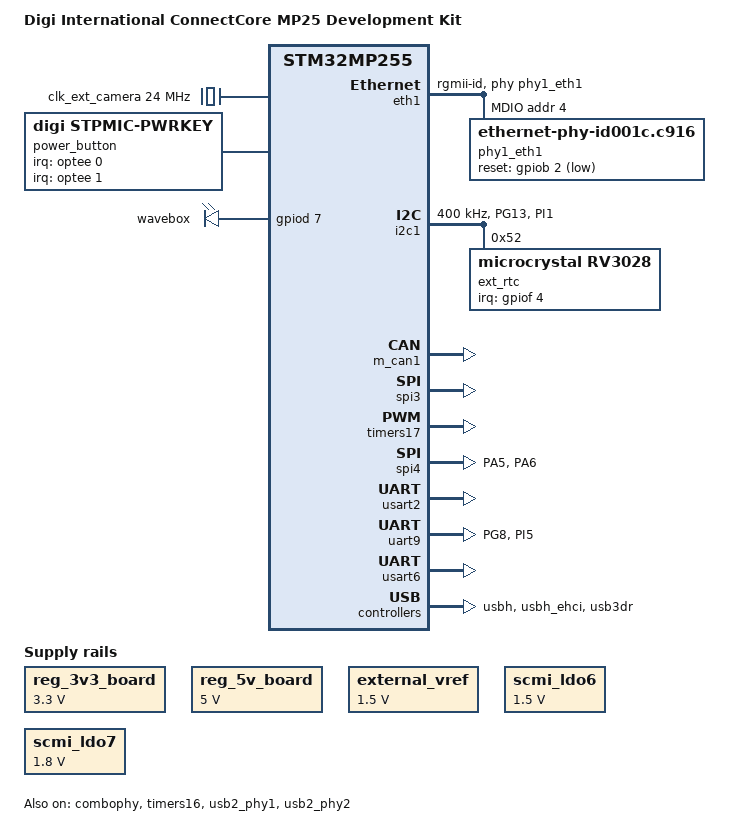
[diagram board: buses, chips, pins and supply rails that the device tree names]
// SPDX-License-Identifier: (GPL-2.0-or-later OR BSD-3-Clause)
/*
 * Copyright (C) 2024,2026, Digi International Inc.
 *
 * Permission to use, copy, modify, and/or distribute this software for any
 * purpose with or without fee is hereby granted, provided that the above
 * copyright notice and this permission notice appear in all copies.
 * THE SOFTWARE IS PROVIDED "AS IS" AND THE AUTHOR DISCLAIMS ALL WARRANTIES
 * WITH REGARD TO THIS SOFTWARE INCLUDING ALL IMPLIED WARRANTIES OF
 * MERCHANTABILITY AND FITNESS. IN NO EVENT SHALL THE AUTHOR BE LIABLE FOR
 * ANY SPECIAL, DIRECT, INDIRECT, OR CONSEQUENTIAL DAMAGES OR ANY DAMAGES
 * WHATSOEVER RESULTING FROM LOSS OF USE, DATA OR PROFITS, WHETHER IN AN
 * ACTION OF CONTRACT, NEGLIGENCE OR OTHER TORTIOUS ACTION, ARISING OUT OF
 * OR IN CONNECTION WITH THE USE OR PERFORMANCE OF THIS SOFTWARE.
 */

/dts-v1/;

/* Digi ConnectCore MP25 (SOM) */
#include "ccmp25.dtsi"

#include <dt-bindings/gpio/gpio.h>
#include <dt-bindings/input/input.h>
#include <dt-bindings/leds/common.h>
#include <dt-bindings/regulator/st,stm32mp25-regulator.h>
#include "dt-bindings/pwm/pwm.h"

/ {
	model = "Digi International ConnectCore MP25 Development Kit";
	compatible = "digi,ccmp25-dvk", "digi,ccmp25", "digi,ccmp2", "st,stm32mp255";
	digi,machine,name = "ccmp255-dvk";

	aliases {
		ethernet0 = &eth1;		
		serial2 = &uart5; /* Console M33 / XBEE */
		serial3 = &usart6; /* 485 */
		serial4 = &uart9;
	};

	chosen {
		stdout-path = "serial0:115200n8";
		#address-cells = <2>;
		#size-cells = <2>;
		ranges;

		framebuffer {
			compatible = "simple-framebuffer";
			clocks = <&rcc CK_BUS_LTDC>, <&rcc CK_KER_LTDC>,
				 <&rcc CK_BUS_LVDS>, <&rcc CK_KER_LVDSPHY>;
			status = "disabled";
		};
	};

	clocks {
		cec_clock: cec-clock {
			compatible = "fixed-clock";
			#clock-cells = <0>;
			clock-frequency = <12000000>;
		};

		clk_ext_camera: clk-ext-camera {
			#clock-cells = <0>;
			compatible = "fixed-clock";
			clock-frequency = <24000000>;
		};

		pad_clk: pad-clk {
			#clock-cells = <0>;
			compatible = "fixed-clock";
			clock-frequency = <100000000>;
		};
	};

	hdmi-connector {
		compatible = "hdmi-connector";
		label = "hdmi";
		type = "a";
		hdmi-pwr-supply = <&reg_5v_board>;
		lv-pwr-supply = <&scmi_ldo7>; /* 1V8_HDMI */
		hpd-gpios = <&gpiod 2 GPIO_ACTIVE_HIGH>;
		status = "disabled";

		port {
			hdmi_connector_in: endpoint {
				remote-endpoint = <&lt8912_out>;
			};
		};
	};

	panel_dsi_gpio_backlight: panel-dsi-gpio-backlight {
		compatible = "gpio-backlight";
		gpios = <&gpiod 9 GPIO_ACTIVE_HIGH>; /* MIPI_BCKL_PWM */
		default-brightness-level = <0>;
		status = "disabled";
	};

	panel_dsi_pwm_backlight: panel-dsi-pwm-backlight {
		compatible = "pwm-backlight";
		/* node TIM1_CH3 period (ns) */
		pwms = <&pwm_mipi_bckl 3 500000 PWM_POLARITY_INVERTED>;
		brightness-levels = <0 16 22 30 40 55 75 102 138 188 255>;
		default-brightness-level = <8>;
		power-supply = <&reg_5v_board>;
		status = "disabled";
	};

	panel_lvds: panel-lvds {
		compatible = "auo,g101evn010", "panel-lvds";
		power-supply = <&reg_5v_board>;
		/*backlight = <&panel_lvds_gpio_backlight>;*/
		backlight = <&panel_lvds_pwm_backlight>;
		status = "disabled";

		width-mm = <216>;
		height-mm = <135>;
		data-mapping = "jeida-24";

		panel-timing {
			clock-frequency = <54000000>;
			hactive = <1280>;
			vactive = <800>;
			hfront-porch = <82>;
			hback-porch = <84>;
			hsync-len = <2>;
			vfront-porch = <8>;
			vback-porch = <6>;
			vsync-len = <2>;
		};

		port {
			lvds_panel_in: endpoint {
				remote-endpoint = <&lvds_out0>;
			};
		};
	};

	panel_lvds_gpio_backlight: panel-lvds-gpio-backlight {
		compatible = "gpio-backlight";
		gpios = <&gpiob 0 GPIO_ACTIVE_HIGH>; /* LVDS_BCKL_PWM */
		default-brightness-level = <1>;
		status = "disabled";
	};

	panel_lvds_pwm_backlight: panel-lvds-pwm-backlight {
		compatible = "pwm-backlight";
		/* node TIM20_CH4 period (ns) */
		pwms = <&pwm_lvds_bckl 3 500000 PWM_POLARITY_INVERTED>;
		brightness-levels = <0 16 22 30 40 55 75 102 138 188 255>;
		default-brightness-level = <8>;
		power-supply = <&reg_5v_board>;
		status = "disabled";
	};

	power_button {
		compatible = "digi,stpmic-pwrkey";
		interrupts-extended = <&optee 0>, <&optee 1>;
		interrupt-names = "stpmic_pwrkey_fall", "stpmic_pwrkey_rise";
		status = "okay";
	};

	regulators {
		compatible = "simple-bus";
		#address-cells = <1>;
		#size-cells = <0>;

		reg_3v3_board: regulator-board@1 {
			compatible = "regulator-fixed";
			reg = <1>;
			regulator-name = "3v3_board";
			regulator-min-microvolt = <3300000>;
			regulator-max-microvolt = <3300000>;
			regulator-always-on;
			status = "okay";
		};

		reg_5v_board: regulator-board@2 {
			compatible = "regulator-fixed";
			reg = <2>;
			regulator-name = "5v_board";
			regulator-min-microvolt = <5000000>;
			regulator-max-microvolt = <5000000>;
			regulator-enable-ramp-delay = <8000>;
			regulator-always-on;
			status = "okay";
		};

		external_vref: regulator-board@4 {
			reg = <4>;
			compatible = "regulator-fixed";
			regulator-name = "external-vref";
			regulator-min-microvolt = <1500000>;
			regulator-max-microvolt = <1500000>;
			status = "okay";
		};

	};

	/* AUDIO */
	sound_max98089: sound-max98089 {
		compatible = "audio-graph-card";
		label = "ccmp25-dvk";
		dais = <&sai4b_port &sai4a_port>;
		status = "disabled";
	};

leds {
    compatible = "gpio-leds";
    wavebox {
        label = "wavebox";
        gpios = <&gpiod 7 GPIO_ACTIVE_HIGH>;   /* NPN 低边: 高=亮 */
        default-state = "off";                 /* 上电灭 */
        /* 可选: linux,default-trigger = "heartbeat"; */
    };
};


};

&adc_12 {
	/* External Vref (requires connecting external voltage to VREF+ pad) */
	vref-supply = <&external_vref>;
	/* Internal Vref (this outputs VREFBUF voltage at VREF+ pad) */
	//vref-supply = <&scmi_vrefbuf>;
	vdda-supply = <&scmi_vdda18adc>;
	pinctrl-names = "default";
	pinctrl-0 = <&ccmp25_adc_pins>;
	status = "disabled";

	adc1: adc@0 {
		status = "disabled";

		channel@0 {
			reg = <0>;
			/* 16.5 ck_cycles sampling time */
			st,min-sample-time-ns = <400>;
		};

		channel@1 {
			reg = <1>;
			/* 16.5 ck_cycles sampling time */
			st,min-sample-time-ns = <400>;
		};

		channel@6 {
			reg = <6>;
			/* 16.5 ck_cycles sampling time */
			st,min-sample-time-ns = <400>;
		};
	};
};

&combophy {
	clocks = <&rcc CK_BUS_USB3PCIEPHY>, <&rcc CK_KER_USB3PCIEPHY>, <&pad_clk>;
	clock-names = "apb-clk", "ker-clk", "pad-clk";
	st,rx_equalizer = <1>;
	status = "okay";
};

&csi {
	vdd-supply =  <&scmi_vddcore>;
	vdda18-supply = <&scmi_v1v8>;
	status = "disabled";
	ports {
		#address-cells = <1>;
		#size-cells = <0>;
		port@0 {
			reg = <0>;
			csi_sink: endpoint {
				remote-endpoint = <&imx335_ep>;
				data-lanes = <1 2>;
				bus-type = <4>;
			};
		};
		port@1 {
			reg = <1>;
			csi_source: endpoint {
				remote-endpoint = <&dcmipp_0>;
			};
		};
	};
};

&dcmipp {
	status = "disabled";
	port {
		dcmipp_0: endpoint {
			remote-endpoint = <&csi_source>;
			bus-type = <4>;
		};
	};
};

&dsi {
	vdd-supply =  <&scmi_vddcore>;
	vdda18-supply = <&scmi_v1v8>;
	status = "disabled";

	ports {
		#address-cells = <1>;
		#size-cells = <0>;

		port@0 {
			reg = <0>;
			dsi_in: endpoint {
				remote-endpoint = <&ltdc_ep0_out>;
			};
		};

		port@1 {
			reg = <1>;
			dsi_out: endpoint {
				remote-endpoint = <&lt8912_1_in>;
			};
		};
	};
};

&eth1 {

	status = "okay";
	pinctrl-0 = <&eth1_rgmii_pins_a &eth1_mdio_pins_a>;
	pinctrl-1 = <&eth1_rgmii_sleep_pins_a &eth1_mdio_sleep_pins_a>;
	pinctrl-names = "default", "sleep";
	phy-mode = "rgmii-id";
	max-speed = <1000>;
	phy-handle = <&phy1_eth1>;
	st,eth-clk-sel;
	snps,ext-systime;

	mdio1 {
		#address-cells = <1>;
		#size-cells = <0>;
		compatible = "snps,dwmac-mdio";
		phy1_eth1: ethernet-phy@4 {
			compatible = "ethernet-phy-id001c.c916";
			reset-gpios =  <&gpiob 2 GPIO_ACTIVE_LOW>;
			reset-assert-us = <10000>;
			reset-deassert-us = <80000>;
			realtek,eee-disable;
			reg = <4>;
		};
	};
};


/* Peripheral I2C bus (J18 Connector) */
&i2c1 {
	pinctrl-names = "default", "sleep";
	pinctrl-0 = <&ccmp25_i2c1_pins>;
	pinctrl-1 = <&ccmp25_i2c1_sleep_pins>;
	i2c-scl-rising-time-ns = <100>;
	i2c-scl-falling-time-ns = <13>;
	clock-frequency = <400000>;
	status = "okay";
	/* spare dmas for other usage */
	/delete-property/dmas;
	/delete-property/dma-names;

	/*
	 * An inconsistent reset sequence makes
	 * the Goodix display's touch controller respond to one of two I2C
	 * addresses: 0x14 and 0x5D. To make sure the touchscreen
	 * works every time, the touch controller's description must
	 * be duplicated for both addresses.
	 */
	goodix_touch: goodix_touch@14 {
		compatible = "goodix,gt9271";
		reg = <0x14>;
		interrupt-parent = <&gpiod>;
		interrupts = <5 IRQ_TYPE_EDGE_RISING>;
		irq-gpios = <&gpiod 5 GPIO_ACTIVE_HIGH>; /* LVDS_IRQ */
		VDDIO-supply = <&reg_3v3_board>;
		status = "disabled";
	};

	goodix_touch2: goodix_touch2@5d {
		compatible = "goodix,gt9271";
		reg = <0x5d>;
		interrupt-parent = <&gpiod>;
		interrupts = <5 IRQ_TYPE_EDGE_RISING>;
		irq-gpios = <&gpiod 5 GPIO_ACTIVE_HIGH>; /* LVDS_IRQ */
		VDDIO-supply = <&reg_3v3_board>;
		status = "disabled";
	};

	/* MIPI-CSI camera */
	imx335: imx335@1a {
		compatible = "sony,imx335";
		reg = <0x1a>;
		clocks = <&clk_ext_camera>;
		reset-gpios = <&gpiog 7 (GPIO_ACTIVE_LOW | GPIO_PUSH_PULL)>;
		powerdown-gpios = <&gpiof 3 (GPIO_ACTIVE_HIGH | GPIO_PUSH_PULL)>;
		status = "disabled";

		port {
			imx335_ep: endpoint {
				remote-endpoint = <&csi_sink>;
				clock-lanes = <0>;
				data-lanes = <1 2>;
				link-frequencies = /bits/ 64 <594000000>;
			};
		};
	};

	ext_rtc: ext_rtc@52 {
		compatible = "microcrystal,rv3028";
		reg = <0x52>;
		interrupt-parent = <&gpiof>;
		interrupts = <4 IRQ_TYPE_EDGE_FALLING>; /* RTC_INT_N */
	};
};

/* Peripheral I2C2 bus (J28 Connector) */
&i2c2 {
	pinctrl-names = "default", "sleep";
	pinctrl-0 = <&i2c2_pins_a>;
	pinctrl-1 = <&i2c2_sleep_pins_a>;
	i2c-scl-rising-time-ns = <100>;
	i2c-scl-falling-time-ns = <13>;
	clock-frequency = <400000>;
	status = "disabled";
	/* spare dmas for other usage */
	/delete-property/dmas;
	/delete-property/dma-names;

	lt_bridge: lt8912@48 {
		compatible = "lontium,lt8912b";
		reg = <0x48>;
		reset-gpios = <&gpiod 4 GPIO_ACTIVE_LOW>;
		vdd-supply = <&scmi_ldo7>; /* 1V8_HDMI */
		status = "disabled";

		ports {
			#address-cells = <1>;
			#size-cells = <0>;

			port@0 {
				reg = <0>;
				lt8912_1_in: endpoint {
					data-lanes = <1 2 3 4>;
					remote-endpoint = <&dsi_out>;
				};
			};

			port@1 {
				reg = <1>;
				lt8912_out: endpoint {
					remote-endpoint = <&hdmi_connector_in>;
				};
			};
		};

		display-timings {
			native-mode = <&timing0>;

			/* High Definition */
			timing0: timing0 {
				clock-frequency = <74250000>;
				hactive = <1280>;
				vactive = <720>;
				hfront-porch = <110>;
				hsync-len = <40>;
				hback-porch = <220>;
				vfront-porch = <5>;
				vsync-len = <5>;
				vback-porch = <20>;
				hsync-active = <0>;
				vsync-active = <0>;
				de-active = <0>;
				pixelclk-active = <0>;
			};

			/* Full HD */
			timing1: timing1 {
				clock-frequency = <148500000>;
				hactive = <1920>;
				vactive = <1080>;
				hfront-porch = <88>;
				hsync-len = <44>;
				hback-porch = <148>;
				vfront-porch = <4>;
				vsync-len = <5>;
				vback-porch = <36>;
				hsync-active = <0>;
				vsync-active = <0>;
				de-active = <0>;
				pixelclk-active = <0>;
			};
		};
	};

	max98089: codec@10 {
		compatible = "maxim,max98089";
		reg = <0x10>;
		clocks = <&sai4b>;
		clock-names = "mclk";
		#sound-dai-cells = <0>;
		#address-cells = <1>;
		#size-cells = <0>;
		status = "disabled";

		max98089_port: port@0{
			reg = <0>;

			max98089_in_endpoint: endpoint@0 {
				remote-endpoint = <&sai4a_endpoint>;
				frame-master = <&max98089_in_endpoint>;
				bitclock-master = <&max98089_in_endpoint>;
			};

			max98089_out_endpoint: endpoint@1 {
				remote-endpoint = <&sai4b_endpoint>;
				frame-master = <&max98089_out_endpoint>;
				bitclock-master = <&max98089_out_endpoint>;
			};
		};
	};
};

&lpuart1 {
	pinctrl-names = "default", "idle", "sleep";
	pinctrl-0 = <&ccmp25_lpuart1_pins>;
	pinctrl-1 = <&ccmp25_lpuart1_idle_pins>;
	pinctrl-2 = <&ccmp25_lpuart1_sleep_pins>;
	/delete-property/dmas;
	/delete-property/dma-names;
	wakeup-source;
	status = "disabled";
};

&ltdc {
	rotation-memory = <&ltdc_sec_rotation>;
	status = "disabled";

	port {
		#address-cells = <1>;
		#size-cells = <0>;

		ltdc_ep0_out: endpoint@0 {
			reg = <0>;
			remote-endpoint = <&dsi_in>;
		};

		ltdc_ep1_out: endpoint@1 {
			reg = <1>;
			remote-endpoint = <&lvds_in>;
		};
	};
};

&lvds {
	vdd-supply =  <&scmi_vddcore>;
	vdda18-supply = <&scmi_v1v8>;
	status = "disabled";

	ports {
		#address-cells = <1>;
		#size-cells = <0>;

		port@0 {
			reg = <0>;
			lvds_in: endpoint {
				remote-endpoint = <&ltdc_ep1_out>;
			};
		};

		port@1 {
			reg = <1>;
			lvds_out0: endpoint {
				remote-endpoint = <&lvds_panel_in>;
			};
		};
	};
};

/* FDCAN1 */
&m_can1 {
	pinctrl-names = "default", "sleep";
	pinctrl-0 = <&m_can1_pins_a>;
	pinctrl-1 = <&m_can1_sleep_pins_a>;
	status = "okay";
};

&ommanager {
	memory-region = <&mm_ospi1>;
	memory-region-names = "mm_ospi1";
	pinctrl-names = "default", "sleep";
	pinctrl-0 = <&ospi_port1_clk_pins_a
		     &ospi_port1_io03_pins_a
		     &ospi_port1_cs0_pins_a>;
	pinctrl-1 = <&ospi_port1_clk_sleep_pins_a
		     &ospi_port1_io03_sleep_pins_a
		     &ospi_port1_cs0_sleep_pins_a>;
	status = "disabled";

	ospi1: spi@40430000 {
		#address-cells = <1>;
		#size-cells = <0>;
		memory-region = <&mm_ospi1>;
		status = "disabled";
	};
};

/* PCIe conflicts with USB 3.0 */


&sai4 {
	pinctrl-names = "default", "sleep";
	pinctrl-0 = <&ccmp25_sai4a_pins>, <&ccmp25_sai4b_pins>;
	pinctrl-1 = <&ccmp25_sai4a_sleep_pins>, <&ccmp25_sai4b_sleep_pins>;
	status = "disabled";

	sai4a: audio-controller@40340004 {
		/* Sub-block A is a slave of sub-block B */
		st,sync = <&sai4b 1>;
		/* Sub-block A is only capture (rx) */
		dmas = <&hpdma 79 0x43 0x12 0>;
		dma-names = "rx";
		clocks = <&rcc CK_KER_SAI4>, <&sai4b>;
		clock-names = "sai_ck", "mclk";
		status = "disabled";

		sai4a_port: port {
			sai4a_endpoint: endpoint {
				remote-endpoint = <&max98089_in_endpoint>;
				format = "i2s";
				mclk-fs = <256>;
				dai-tdm-slot-num = <2>;
				dai-tdm-slot-width = <32>;
			};
		};
	};
	sai4b: audio-controller@40340024 {
		/* Sub-block B is master */
		#clock-cells = <0>;
		/* Sub-block B is only playback (tx) */
		dmas = <&hpdma 80 0x63 0x21 0>;
		dma-names = "tx";
		status = "disabled";

		sai4b_port: port {
			sai4b_endpoint: endpoint {
				remote-endpoint = <&max98089_out_endpoint>;
				format = "i2s";
				mclk-fs = <256>;
				dai-tdm-slot-num = <2>;
				dai-tdm-slot-width = <32>;
			};
		};
	};
};

/* PMIC LDO6 (PCIe 1.5V) */
&scmi_ldo6 {
	regulator-min-microvolt = <1500000>;
	regulator-max-microvolt = <1500000>;
};

/* PMIC LDO7 (HDMI 1.8V) */
&scmi_ldo7 {
	regulator-min-microvolt = <1800000>;
	regulator-max-microvolt = <1800000>;
};

/* Micro SD */
&sdmmc3 {
	pinctrl-names = "default", "opendrain", "sleep";
	pinctrl-0 = <&sdmmc3_b4_pins_a>;
	pinctrl-1 = <&sdmmc3_b4_od_pins_a>;
	pinctrl-2 = <&sdmmc3_b4_sleep_pins_a>;
	cd-gpios = <&gpioi 6 GPIO_ACTIVE_HIGH>;
	disable-wp;
	st,neg-edge;
	no-1-8-v;
	bus-width = <4>;
	vmmc-supply = <&reg_3v3_board>; /* card's VDD pin */
	vqmmc-supply = <&scmi_vddio3>;
	status = "disabled";
};

/* MikroBus SPI */
&spi3 {
	pinctrl-names = "default", "sleep";
	pinctrl-0 = <&spi3_pins_a>;
	pinctrl-1 = <&spi3_sleep_pins_a>;
	cs-gpios = <&gpiob 1 0>; /* SPI3_SS */
	status = "okay";

	//spidev@0 {
	//	compatible = "rohm,dh2228fv";
		/*
		 * spidev uses a compatible string 'rohm,fs2228fv' to have the
		 * driver create an spi device node. This is just an example,
		 * there is not a real device connected on the SPI bus.
		 */
	//	reg = <0>;
	//	spi-max-frequency = <4000000>;
	// };
};

&timers2 {
    status = "okay";

    /* USER CODE BEGIN timers2 */
    /delete-property/dmas;
    /delete-property/dma-names;
    /* USER CODE END timers2 */

    /* Set the desired PWM name  BNC_IN */
    counter {
        pinctrl-names = "default", "sleep";
        pinctrl-0 = <&ccmp25_timers2_ch2_pwm_pins>;
        pinctrl-1 = <&ccmp25_timers2_ch2_pwm_sleep_pins>;
        status = "okay";
    };


};

&timers16 {
    status = "okay";
    /* USER CODE BEGIN timers16 */
    /delete-property/dmas;
    /delete-property/dma-names;
    /* USER CODE END timers16 */
    counter {
        pinctrl-names = "default", "sleep";
        pinctrl-0 = <&ccmp25_timers16_ch1_in_pins>;
        pinctrl-1 = <&ccmp25_timers16_ch1_in_sleep_pins>;
        status = "disabled";
    };
};

&timers17 {
    status = "okay";
    /* USER CODE BEGIN timers17 */
    /delete-property/dmas;
    /delete-property/dma-names;
    /* USER CODE END timers17 */
    pwm41: pwm {
        pinctrl-names = "default", "sleep";
        pinctrl-0 = <&ccmp25_timers17_ch1_pwm_pins>;
        pinctrl-1 = <&ccmp25_timers17_ch1_pwm_sleep_pins>;
        status = "okay";
    };
};

&timers1 {
	/delete-property/dmas;
	/delete-property/dma-names;
	status = "disabled";
	pwm_mipi_bckl: pwm {
		pinctrl-0 = <&ccmp25_pwm1_pins>;
		pinctrl-1 = <&ccmp25_pwm1_sleep_pins>;
		pinctrl-names = "default", "sleep";
		status = "okay";
	};
	timer@0 {
		status = "disabled";
	};
};

&spi4 {
    pinctrl-names = "default", "sleep";
    pinctrl-0 = <&ccmp25_spi4_pins>;
    pinctrl-1 = <&ccmp25_spi4_sleep_pins>;
    status = "okay";
    
    /* USER CODE BEGIN spi4 */
    cs-gpios = <&gpioa 9 0>;
    
    /*
     * Reference block.
     * 
     * Configure your SPI peripherals.
     */
    //st33htpm0: st33htpm@0{
    //    compatible = "st,st33htpm-spi";
    //    reg = <0>;
    //    spi-max-frequency = <33000000>;
    //    status = "okay";
    //};
    //spidev@0{
    //    compatible = "spidev";
    //    reg = <0>;
    //    spi-max-frequency = <4000000>;
    //    status = "okay";
    //};
    /* USER CODE END spi4 */
};

&timers2 {
	/delete-property/dmas;
	/delete-property/dma-names;
	status = "disabled";
	pwm_mikrobus: pwm {
		pinctrl-0 = <&ccmp25_pwm2_pins>;
		pinctrl-1 = <&ccmp25_pwm2_sleep_pins>;
		pinctrl-names = "default", "sleep";
		status = "disabled";
	};
	timer@1 {
		status = "disabled";
	};
};

&timers20 {
	/delete-property/dmas;
	/delete-property/dma-names;
	status = "disabled";
	pwm_lvds_bckl: pwm {
		pinctrl-0 = <&ccmp25_pwm20_pins>;
		pinctrl-1 = <&ccmp25_pwm20_sleep_pins>;
		pinctrl-names = "default", "sleep";
		status = "disabled";
	};
	timer@19 {
		status = "disabled";
	};
};

/* Console A35 */
&usart2 {
	bootph-all;
	pinctrl-names = "default", "idle", "sleep";
	pinctrl-0 = <&usart2_pins_a>;
	pinctrl-1 = <&usart2_idle_pins_a>;
	pinctrl-2 = <&usart2_sleep_pins_a>;
	/delete-property/dmas;
	/delete-property/dma-names;
	status = "okay";
};

&usart2_pins_a {
	bootph-all;
	pins1 {
		bootph-all;
	};
	pins2 {
		bootph-all;
	};
};

/*  XBEE */
&uart9 {
    pinctrl-names = "default", "idle", "sleep";
    pinctrl-0 = <&ccmp25_uart9_pins>;
	pinctrl-1 = <&ccmp25_uart9_idle_pins>;
    pinctrl-1 = <&ccmp25_uart9_sleep_pins>;
    status = "okay";

    /* USER CODE BEGIN uart9 */
    /delete-property/dmas;
    /delete-property/dma-names;
    /* USER CODE END uart9 */
};

/* RS485 */
&usart6 {
	pinctrl-names = "default", "idle", "sleep";
	pinctrl-0 = <&usart6_pins_a>;
	pinctrl-1 = <&usart6_idle_pins_a>;
	pinctrl-2 = <&usart6_sleep_pins_a>;
	linux,rs485-enabled-at-boot-time;
	uart-has-rtscts;
	status = "okay";
};

/* USB 2.0 Host */
&usb2_phy1 {
	vdd33-supply = <&scmi_vdd3v3_usb>;
	status = "okay";
};


&usbh {
	status = "okay";
};

&usbh_ehci {
	status = "okay";
};

/* USB 2.0/3.0 Host/Device */
&usb2_phy2 {
	vdd33-supply = <&scmi_vdd3v3_usb>;
	status = "okay";
};

&usb3dr {
	status = "okay";

	dwc3: usb@48300000 {
		maximum-speed = "high-speed";
		usb-role-switch;
		role-switch-default-mode = "peripheral";
	};
};

&pinctrl {
	ccmp25_adc_pins: ccmp25-adc-pins-0 {
		pins {
			pinmux = <STM32_PINMUX('G', 1, ANALOG)>;
		};
	};

	ccmp25_i2c1_pins: ccmp25-i2c1-0 {
		pins {
			pinmux = <STM32_PINMUX('G', 13, AF9)>, /* I2C1_SCL */
				 <STM32_PINMUX('I', 1, AF9)>; /* I2C1_SDA */
			bias-disable;
			drive-open-drain;
			slew-rate = <0>;
		};
	};

	ccmp25_i2c1_sleep_pins: ccmp25-i2c1-sleep-0 {
		pins {
			pinmux = <STM32_PINMUX('G', 13, ANALOG)>, /* I2C1_SCL */
				 <STM32_PINMUX('I', 1, ANALOG)>; /* I2C1_SDA */
		};
	};

	ccmp25_lpuart1_pins: ccmp25-lpuart1-0 {
		pins1 {
			pinmux = <STM32_PINMUX('Z', 7, AF6)>; /* LPUART1_TX */
			bias-disable;
			drive-push-pull;
			slew-rate = <0>;
		};
		pins2 {
			pinmux = <STM32_PINMUX('Z', 4, AF6)>; /* LPUART1_RX */
			bias-pull-up;
		};
	};

	ccmp25_lpuart1_idle_pins: ccmp25-lpuart1-idle-0 {
		pins1 {
			pinmux = <STM32_PINMUX('Z', 7, ANALOG)>; /* LPUART1_TX */
		};
		pins2 {
			pinmux = <STM32_PINMUX('Z', 4, AF6)>; /* LPUART1_RX */
			bias-pull-up;
		};
	};

	ccmp25_lpuart1_sleep_pins: ccmp25-lpuart1-sleep-0 {
		pins {
			pinmux = <STM32_PINMUX('Z', 7, ANALOG)>, /* LPUART1_TX */
				 <STM32_PINMUX('Z', 4, ANALOG)>; /* LPUART1_RX */
		};
	};

	ccmp25_pwm1_pins: ccmp25-pwm1-0 {
		pins {
			pinmux = <STM32_PINMUX('D', 9, AF8)>; /* TIM1_CH3 */
			bias-disable;
			drive-push-pull;
			slew-rate = <0>;
		};
	};

	ccmp25_pwm1_sleep_pins: ccmp25-pwm1-sleep-0 {
		pins {
			pinmux = <STM32_PINMUX('D', 9, ANALOG)>; /* TIM1_CH3 */
		};
	};

	ccmp25_pwm2_pins: ccmp25-pwm2-0 {
		pins {
			pinmux = <STM32_PINMUX('F', 11, AF7)>; /* TIM2_CH4 */
			bias-disable;
			drive-push-pull;
			slew-rate = <0>;
		};
	};

	ccmp25_pwm2_sleep_pins: ccmp25-pwm2-sleep-0 {
		pins {
			pinmux = <STM32_PINMUX('F', 11, ANALOG)>; /* TIM2_CH4 */
		};
	};

	ccmp25_pwm20_pins: ccmp25-pwm20-0 {
		pins {
			pinmux = <STM32_PINMUX('B', 0, AF8)>; /* TIM20_CH4N */
			bias-disable;
			drive-push-pull;
			slew-rate = <0>;
		};
	};

	ccmp25_pwm20_sleep_pins: ccmp25-pwm20-sleep-0 {
		pins {
			pinmux = <STM32_PINMUX('B', 0, ANALOG)>; /* TIM20_CH4N */
		};
	};

	ccmp25_timers2_ch2_pwm_pins: ccmp25-timers2-ch2-pwm {
        pins {
            pinmux = <STM32_PINMUX('A', 10,  AF8)>; /* TIM2_CH2_PWM BNC_IN */
            drive-push-pull;
            bias-disable;
            slew-rate = <0>;
        };
    };

    ccmp25_timers2_ch2_pwm_sleep_pins: ccmp25-timers2-ch2-pwm-sleep {
        pins {
            pinmux = <STM32_PINMUX('A', 10, ANALOG)>; /* TIM2_CH2_PWM */
        };
    };

	ccmp25_timers16_ch1_in_pins: ccmp25-timers16-ch1-in {
        pins {
            pinmux = <STM32_PINMUX('H', 6, AF7)>; /* TIM16_CH1 作输入捕获 */
            bias-pull-down;   /* 视你 BNC 信号源而定,见下 */
        };
    };
    ccmp25_timers16_ch1_in_sleep_pins: ccmp25-timers16-ch1-in-sleep {
        pins {
            pinmux = <STM32_PINMUX('H', 6, ANALOG)>;
        };
    };

	ccmp25_timers17_ch1_pwm_pins: ccmp25-timers17-ch1-pwm {
        pins {
            pinmux = <STM32_PINMUX('H', 3, AF7)>; /* TIM17_CH1 —— AF 需确认 */
            drive-push-pull;
            bias-disable;
            slew-rate = <0>;
        };
    };
    ccmp25_timers17_ch1_pwm_sleep_pins: ccmp25-timers17-ch1-pwm-sleep {
        pins {
            pinmux = <STM32_PINMUX('H', 3, ANALOG)>;
        };
    };

	ccmp25_sai4a_pins: ccmp25-sai4a-1 {
		pins {
			pinmux = <STM32_PINMUX('D', 1, AF5)>; /* SAI4_SD_A */
			bias-disable;
		};
	};

	ccmp25_sai4a_sleep_pins: ccmp25-sai4a-sleep-1 {
		pins {
			pinmux = <STM32_PINMUX('D', 1, ANALOG)>; /* SAI4_SD_A */
		};
	};

	ccmp25_sai4b_pins: ccmp25-sai2b-0 {
		pins1 {
			pinmux = <STM32_PINMUX('I', 2, AF4)>, /* SAI4_SCK_B */
				 <STM32_PINMUX('I', 4, AF4)>, /* SAI4_FS_B */
				 <STM32_PINMUX('I', 0, AF4)>; /* SAI4_MCLK_B */
			slew-rate = <0>;
			drive-push-pull;
			bias-disable;
		};
		pins2 {
			pinmux = <STM32_PINMUX('I', 3, AF4)>; /* SAI4_SD_B */
			bias-disable;
		};
	};

	ccmp25_sai4b_sleep_pins: ccmp25-sai2b-sleep-0 {
		pins {
			pinmux = <STM32_PINMUX('I', 3, ANALOG)>, /* SAI4_SDO_B */
				 <STM32_PINMUX('I', 2, ANALOG)>, /* SAI4_SCK_B */
				 <STM32_PINMUX('I', 4, ANALOG)>, /* SAI4_FS_B */
				 <STM32_PINMUX('I', 0, ANALOG)>; /* SAI4_MCLK_B */
		};
	};

	ccmp25_uart9_pins: ccmp25-uart9-0 {
		pins1 {
			pinmux = <STM32_PINMUX('G', 8, AF6)>; /* UART9_TX */
			bias-disable;
			drive-push-pull;
			slew-rate = <0>;
		};
		pins2 {
			pinmux = <STM32_PINMUX('I', 5, AF6)>; /* UART9_RX */
			bias-disable;
		};
	};

	ccmp25_uart9_idle_pins: ccmp25-uart9-idle-0 {
		pins1 {
			pinmux = <STM32_PINMUX('G', 8, ANALOG)>; /* UART9_TX */
		};
		pins2 {
			pinmux = <STM32_PINMUX('I', 5, AF6)>; /* UART9_RX */
			bias-disable;
		};
	};

	ccmp25_uart9_sleep_pins: ccmp25-uart9-sleep-0 {
		pins {
			pinmux = <STM32_PINMUX('G', 8, ANALOG)>, /* UART5_TX */
				 <STM32_PINMUX('I', 5, ANALOG)>; /* UART5_RX */
		};
	};


    ccmp25_spi4_pins: ccmp25-spi4 {
        pins1 {
            pinmux = <STM32_PINMUX('A', 5,  AF3)>; /* SPI4_MOSI */
                     /* <STM32_PINMUX('A',  9,  AF3)>;  SPI4_NSS */
            drive-push-pull;
            bias-disable;
            slew-rate = <0>;
        };
        pins2 {
            pinmux = <STM32_PINMUX('A',  6,  AF3)>; /* SPI4_SCK */
            drive-push-pull;
            bias-disable;
            slew-rate = <1>;
        };
    };
    
    ccmp25_spi4_sleep_pins: ccmp25-spi4-sleep {
        pins {
            pinmux = <STM32_PINMUX('A', 5, ANALOG)>, /* SPI4_MOSI */
                     <STM32_PINMUX('A',  6, ANALOG)>, /* SPI4_SCK */
                     <STM32_PINMUX('A',  9, ANALOG)>; /* SPI4_NSS */
        };
    };

    ccmp25_gpio_led_pins: ccmp25-gpio-led {
        pins {
            pinmux = <STM32_PINMUX('D', 7, GPIO)>;
            drive-push-pull;
            bias-disable;
            output-low;
            slew-rate = <0>;
        };
    };
};
